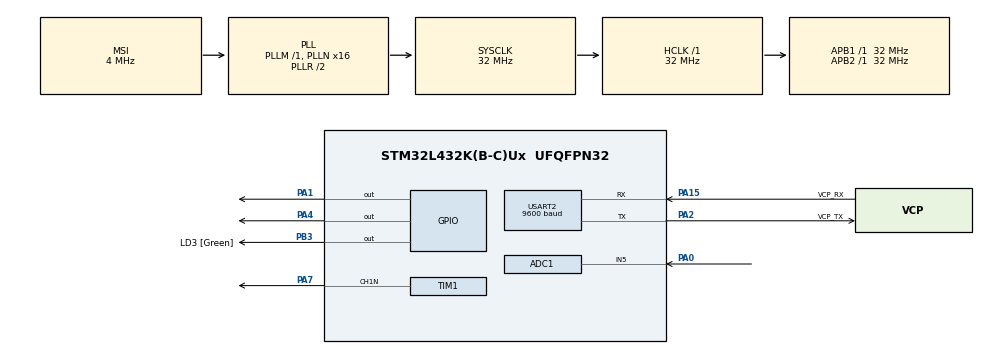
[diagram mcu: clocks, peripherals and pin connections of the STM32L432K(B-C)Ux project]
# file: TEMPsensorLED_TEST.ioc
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ADC1.Channel-0\#ChannelRegularConversion=ADC_CHANNEL_5
ADC1.NbrOfConversionFlag=1
ADC1.OffsetNumber-0\#ChannelRegularConversion=ADC_OFFSET_NONE
ADC1.Rank-0\#ChannelRegularConversion=1
ADC1.SamplingTime-0\#ChannelRegularConversion=ADC_SAMPLETIME_2CYCLES_5
ADC1.master=1
Mcu.Family=STM32L4
Mcu.Name=STM32L432K(B-C)Ux
Mcu.Package=UFQFPN32
NVIC.PriorityGroup=NVIC_PRIORITYGROUP_4
PA0.Signal=ADCx_IN5
PA1.Signal=GPIO_Output
PA13\ (JTMS-SWDIO).GPIO_Label=SWDIO
PA13\ (JTMS-SWDIO).Signal=SYS_JTMS-SWDIO
PA14\ (JTCK-SWCLK).GPIO_Label=SWCLK
PA14\ (JTCK-SWCLK).Signal=SYS_JTCK-SWCLK
PA15\ (JTDI).GPIO_Label=VCP_RX
PA15\ (JTDI).Mode=Asynchronous
PA15\ (JTDI).Signal=USART2_RX
PA2.GPIO_Label=VCP_TX
PA2.Mode=Asynchronous
PA2.Signal=USART2_TX
PA4.Signal=GPIO_Output
PA7.Mode=PWM Generation1 CH1N
PA7.Signal=TIM1_CH1N
PB3\ (JTDO-TRACESWO).GPIO_Label=LD3 [Green]
PB3\ (JTDO-TRACESWO).Signal=GPIO_Output
PC14-OSC32_IN\ (PC14).Signal=RCC_OSC32_IN
PC15-OSC32_OUT\ (PC15).Signal=RCC_OSC32_OUT
ProjectManager.HeapSize=0x200
ProjectManager.StackSize=0x400
ProjectManager.TargetToolchain=TrueSTUDIO
RCC.ADCFreq_Value=32000000
RCC.AHBFreq_Value=32000000
RCC.APB1Freq_Value=32000000
RCC.APB1TimFreq_Value=32000000
RCC.APB2Freq_Value=32000000
RCC.APB2TimFreq_Value=32000000
RCC.CortexFreq_Value=32000000
RCC.HCLKFreq_Value=32000000
RCC.HSE_VALUE=8000000
RCC.HSI16_VALUE=16000000
RCC.HSI48_VALUE=48000000
RCC.HSI_VALUE=16000000
RCC.LSE_VALUE=32768
RCC.MSI_VALUE=4000000
RCC.PLLMUL=RCC_PLLMUL_4
RCC.PLLN=16
RCC.PLLSAI1N=16
RCC.SYSCLKFreq_VALUE=32000000
RCC.SYSCLKSource=RCC_SYSCLKSOURCE_PLLCLK
RCC.USBFreq_Value=32000000
RCC.VCOOutputFreq_Value=64000000
SH.ADCx_IN5.0=ADC1_IN5,IN5-Single-Ended
TIM1.Channel-PWM\ Generation1\ CH1N=TIM_CHANNEL_1
USART2.BaudRate=9600
USART2.VirtualMode-Asynchronous=VM_ASYNC
USART2.WordLength=WORDLENGTH_8B
board=NUCLEO-L432KC

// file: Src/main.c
/**
 ******************************************************************************
 *  File Name     : main.c
 *  PROJECT       : Temperature Sensor -Assignment #3*
 *  PROGRAMMER    : DIVESH DUTT*
 *  FIRST VERSION : 2017-07-05*
 *  DESCRIPTION   :*The functions in this file are used to displays the
 *  temperature of surrounding and illuminate RGB led for the specified colour
 *  -15 C  to 5.0 C  blue
 *   5.1 C to 15 C   yellow
 *   15.1 C to 25 C  orange
 *   Above 25.1 C    red

 ******************************************************************************
 ** This notice applies to any and all portions of this file
 * that are not between comment pairs USER CODE BEGIN and
 * USER CODE END. Other portions of this file, whether
 * inserted by the user or by software development tools
 * are owned by their respective copyright owners.
 *
 * COPYRIGHT(c) 2017 STMicroelectronics
 *
 * Redistribution and use in source and binary forms, with or without modification,
 * are permitted provided that the following conditions are met:
 *   1. Redistributions of source code must retain the above copyright notice,
 *      this list of conditions and the following disclaimer.
 *   2. Redistributions in binary form must reproduce the above copyright notice,
 *      this list of conditions and the following disclaimer in the documentation
 *      and/or other materials provided with the distribution.
 *   3. Neither the name of STMicroelectronics nor the names of its contributors
 *      may be used to endorse or promote products derived from this software
 *      without specific prior written permission.
 *
 * THIS SOFTWARE IS PROVIDED BY THE COPYRIGHT HOLDERS AND CONTRIBUTORS "AS IS"
 * AND ANY EXPRESS OR IMPLIED WARRANTIES, INCLUDING, BUT NOT LIMITED TO, THE
 * IMPLIED WARRANTIES OF MERCHANTABILITY AND FITNESS FOR A PARTICULAR PURPOSE ARE
 * DISCLAIMED. IN NO EVENT SHALL THE COPYRIGHT HOLDER OR CONTRIBUTORS BE LIABLE
 * FOR ANY DIRECT, INDIRECT, INCIDENTAL, SPECIAL, EXEMPLARY, OR CONSEQUENTIAL
 * DAMAGES (INCLUDING, BUT NOT LIMITED TO, PROCUREMENT OF SUBSTITUTE GOODS OR
 * SERVICES; LOSS OF USE, DATA, OR PROFITS; OR BUSINESS INTERRUPTION) HOWEVER
 * CAUSED AND ON ANY THEORY OF LIABILITY, WHETHER IN CONTRACT, STRICT LIABILITY,
 * OR TORT (INCLUDING NEGLIGENCE OR OTHERWISE) ARISING IN ANY WAY OUT OF THE USE
 * OF THIS SOFTWARE, EVEN IF ADVISED OF THE POSSIBILITY OF SUCH DAMAGE.
 *
 ******************************************************************************
 */
#include "main.h"
#include "stm32l4xx_hal.h"

ADC_HandleTypeDef hadc1;

TIM_HandleTypeDef htim1;

UART_HandleTypeDef huart2;

/* USER CODE BEGIN PV */
/* Private variables ---------------------------------------------------------*/
float measuredTemprature = 0; //Variable used to measure temperature
/* USER CODE END PV */

void SystemClock_Config(void);
static void MX_GPIO_Init(void);
static void MX_ADC1_Init(void);
static void MX_TIM1_Init(void);
static void MX_USART2_UART_Init(void);

void HAL_TIM_MspPostInit(TIM_HandleTypeDef *htim);

/* USER CODE BEGIN PFP */
/* Private function prototypes -----------------------------------------------*/
void illuminateBlue(void);    //function used to illuminate blue colour on RGB
void illuminateOrange(void);  //function used to illuminate Orange colour on RGB
void illuminateYellow(void);  //function used to illuminate yellow colour on RGB
void displayTemp();           //function used to display temperature of room
/* USER CODE END PFP */

/* USER CODE BEGIN 0 */

/* FUNCTION     :setPWMandTurnON
 * DESCRIPTION  :This function configure timer and turn it ON.
 * PARAMETERS   :Timer handler,pwmPeriod,percentON
 * RETURNS      :None
 *******NOTE:There is a modification in this function with one more parameter
 percentON this is used to adjust the pulse of the green colour on RGB
 */
void setPWMandTurnON(TIM_HandleTypeDef* htim1, int32_t pwmPeriod,
		float percentON) {
	TIM_MasterConfigTypeDef sMasterConfig;
	TIM_OC_InitTypeDef sConfigOC;
	TIM_BreakDeadTimeConfigTypeDef sBreakDeadTimeConfig;
	htim1->Instance = TIM1;
	htim1->Init.Prescaler = 0;
	htim1->Init.CounterMode = TIM_COUNTERMODE_UP;
	htim1->Init.Period = pwmPeriod;
	htim1->Init.ClockDivision = TIM_CLOCKDIVISION_DIV1;
	htim1->Init.RepetitionCounter = 0;
	if (HAL_TIM_PWM_Init(&*htim1) != HAL_OK) {

	}
	sMasterConfig.MasterOutputTrigger = TIM_TRGO_RESET;
	sMasterConfig.MasterOutputTrigger2 = TIM_TRGO2_RESET;
	sMasterConfig.MasterSlaveMode = TIM_MASTERSLAVEMODE_DISABLE;
	if (HAL_TIMEx_MasterConfigSynchronization(&*htim1, &sMasterConfig)
			!= HAL_OK) {

	}
	/* adding this as ST Tech Support said PWM should be stopped before
	 * calling HAL_TIM_PWM_ConfigChannel and I've been getting flakey start-up
	 * i.e.: sometime PWM starts up, other times the line remains stuck high.
	 **************************************/
	HAL_TIM_PWM_Stop(&*htim1, TIM_CHANNEL_1);
	/*************************************/
	sConfigOC.OCMode = TIM_OCMODE_PWM1;
	sConfigOC.Pulse = pwmPeriod * percentON;
	sConfigOC.OCPolarity = TIM_OCPOLARITY_HIGH;
	sConfigOC.OCNPolarity = TIM_OCNPOLARITY_HIGH;
	sConfigOC.OCFastMode = TIM_OCFAST_DISABLE;
	sConfigOC.OCIdleState = TIM_OCIDLESTATE_RESET;
	sConfigOC.OCNIdleState = TIM_OCNIDLESTATE_RESET;
	if (HAL_TIM_PWM_ConfigChannel(&*htim1, &sConfigOC, TIM_CHANNEL_1)
			!= HAL_OK) {

	}
	sBreakDeadTimeConfig.OffStateRunMode = TIM_OSSR_DISABLE;
	sBreakDeadTimeConfig.OffStateIDLEMode = TIM_OSSI_DISABLE;
	sBreakDeadTimeConfig.LockLevel = TIM_LOCKLEVEL_OFF;
	sBreakDeadTimeConfig.DeadTime = 0;
	sBreakDeadTimeConfig.BreakState = TIM_BREAK_DISABLE;
	sBreakDeadTimeConfig.BreakPolarity = TIM_BREAKPOLARITY_HIGH;
	sBreakDeadTimeConfig.BreakFilter = 0;
	sBreakDeadTimeConfig.Break2State = TIM_BREAK2_DISABLE;
	sBreakDeadTimeConfig.Break2Polarity = TIM_BREAK2POLARITY_HIGH;
	sBreakDeadTimeConfig.Break2Filter = 0;
	sBreakDeadTimeConfig.AutomaticOutput = TIM_AUTOMATICOUTPUT_DISABLE;
	if (HAL_TIMEx_ConfigBreakDeadTime(&*htim1, &sBreakDeadTimeConfig)
			!= HAL_OK) {

	}
	HAL_TIMEx_PWMN_Start(&*htim1, TIM_CHANNEL_1);
}
/* USER CODE END 0 */

int main(void) {

	/* MCU Configuration----------------------------------------------------------*/

	/* Reset of all peripherals, Initializes the Flash interface and the Systick. */
	HAL_Init();

	/* Configure the system clock */
	SystemClock_Config();

	/* Initialize all configured peripherals */
	MX_GPIO_Init();
	MX_ADC1_Init();
	MX_TIM1_Init();
	MX_USART2_UART_Init();

	/* USER CODE BEGIN 2 */
	HAL_ADCEx_Calibration_Start(&hadc1, ADC_SINGLE_ENDED);
	/* USER CODE END 2 */

	/* Infinite loop */
	while (1) {

		/* USER CODE BEGIN 3 */
		displayTemp();

		if (measuredTemprature < 5) {

			illuminateBlue();

		}

		if (((measuredTemprature) < 15) && ((measuredTemprature) > 5.1)) {

			illuminateOrange();
		}
		if (((measuredTemprature) < 25) && ((measuredTemprature) > 15.1)) {

			illuminateYellow();

		}
		if ((measuredTemprature) > 25.1) {

			illuminateRed();

		}

	}
}
/* USER CODE END 3 */

/* FUNCTION     :SystemClock_Config
 * DESCRIPTION  :This function used to set the clock
 * PARAMETERS   :None
 * RETURNS      :None
 */
void SystemClock_Config(void) {

	RCC_OscInitTypeDef RCC_OscInitStruct;
	RCC_ClkInitTypeDef RCC_ClkInitStruct;
	RCC_PeriphCLKInitTypeDef PeriphClkInit;

	/**Initializes the CPU, AHB and APB busses clocks
	 */
	RCC_OscInitStruct.OscillatorType = RCC_OSCILLATORTYPE_MSI;
	RCC_OscInitStruct.MSIState = RCC_MSI_ON;
	RCC_OscInitStruct.MSICalibrationValue = 0;
	RCC_OscInitStruct.MSIClockRange = RCC_MSIRANGE_6;
	RCC_OscInitStruct.PLL.PLLState = RCC_PLL_ON;
	RCC_OscInitStruct.PLL.PLLSource = RCC_PLLSOURCE_MSI;
	RCC_OscInitStruct.PLL.PLLM = 1;
	RCC_OscInitStruct.PLL.PLLN = 16;
	RCC_OscInitStruct.PLL.PLLP = RCC_PLLP_DIV7;
	RCC_OscInitStruct.PLL.PLLQ = RCC_PLLQ_DIV2;
	RCC_OscInitStruct.PLL.PLLR = RCC_PLLR_DIV2;
	if (HAL_RCC_OscConfig(&RCC_OscInitStruct) != HAL_OK) {
		_Error_Handler(__FILE__, __LINE__);
	}

	/**Initializes the CPU, AHB and APB busses clocks
	 */
	RCC_ClkInitStruct.ClockType = RCC_CLOCKTYPE_HCLK | RCC_CLOCKTYPE_SYSCLK
			| RCC_CLOCKTYPE_PCLK1 | RCC_CLOCKTYPE_PCLK2;
	RCC_ClkInitStruct.SYSCLKSource = RCC_SYSCLKSOURCE_PLLCLK;
	RCC_ClkInitStruct.AHBCLKDivider = RCC_SYSCLK_DIV1;
	RCC_ClkInitStruct.APB1CLKDivider = RCC_HCLK_DIV1;
	RCC_ClkInitStruct.APB2CLKDivider = RCC_HCLK_DIV1;

	if (HAL_RCC_ClockConfig(&RCC_ClkInitStruct, FLASH_LATENCY_1) != HAL_OK) {
		_Error_Handler(__FILE__, __LINE__);
	}

	PeriphClkInit.PeriphClockSelection = RCC_PERIPHCLK_USART2
			| RCC_PERIPHCLK_ADC;
	PeriphClkInit.Usart2ClockSelection = RCC_USART2CLKSOURCE_PCLK1;
	PeriphClkInit.AdcClockSelection = RCC_ADCCLKSOURCE_PLLSAI1;
	PeriphClkInit.PLLSAI1.PLLSAI1Source = RCC_PLLSOURCE_MSI;
	PeriphClkInit.PLLSAI1.PLLSAI1M = 1;
	PeriphClkInit.PLLSAI1.PLLSAI1N = 16;
	PeriphClkInit.PLLSAI1.PLLSAI1P = RCC_PLLP_DIV7;
	PeriphClkInit.PLLSAI1.PLLSAI1Q = RCC_PLLQ_DIV2;
	PeriphClkInit.PLLSAI1.PLLSAI1R = RCC_PLLR_DIV2;
	PeriphClkInit.PLLSAI1.PLLSAI1ClockOut = RCC_PLLSAI1_ADC1CLK;
	if (HAL_RCCEx_PeriphCLKConfig(&PeriphClkInit) != HAL_OK) {
		_Error_Handler(__FILE__, __LINE__);
	}

	/**Configure the main internal regulator output voltage
	 */
	if (HAL_PWREx_ControlVoltageScaling(PWR_REGULATOR_VOLTAGE_SCALE1)
			!= HAL_OK) {
		_Error_Handler(__FILE__, __LINE__);
	}

	/**Configure the Systick interrupt time
	 */
	HAL_SYSTICK_Config(HAL_RCC_GetHCLKFreq() / 1000);

	/**Configure the Systick
	 */
	HAL_SYSTICK_CLKSourceConfig(SYSTICK_CLKSOURCE_HCLK);

	/* SysTick_IRQn interrupt configuration */
	HAL_NVIC_SetPriority(SysTick_IRQn, 0, 0);
}

/* FUNCTION     :MX_ADC1_Init
 * DESCRIPTION  :This function used to initialize the ADC used for sensor
 * PARAMETERS   :None
 * RETURNS      :None
 */
static void MX_ADC1_Init(void) {

	ADC_ChannelConfTypeDef sConfig;

	/**Common config
	 */
	hadc1.Instance = ADC1;
	hadc1.Init.ClockPrescaler = ADC_CLOCK_ASYNC_DIV1;
	hadc1.Init.Resolution = ADC_RESOLUTION_12B;
	hadc1.Init.DataAlign = ADC_DATAALIGN_RIGHT;
	hadc1.Init.ScanConvMode = ADC_SCAN_DISABLE;
	hadc1.Init.EOCSelection = ADC_EOC_SINGLE_CONV;
	hadc1.Init.LowPowerAutoWait = DISABLE;
	hadc1.Init.ContinuousConvMode = DISABLE;
	hadc1.Init.NbrOfConversion = 1;
	hadc1.Init.DiscontinuousConvMode = DISABLE;
	hadc1.Init.NbrOfDiscConversion = 1;
	hadc1.Init.ExternalTrigConv = ADC_SOFTWARE_START;
	hadc1.Init.ExternalTrigConvEdge = ADC_EXTERNALTRIGCONVEDGE_NONE;
	hadc1.Init.DMAContinuousRequests = DISABLE;
	hadc1.Init.Overrun = ADC_OVR_DATA_PRESERVED;
	hadc1.Init.OversamplingMode = DISABLE;
	if (HAL_ADC_Init(&hadc1) != HAL_OK) {
		_Error_Handler(__FILE__, __LINE__);
	}

	/**Configure Regular Channel
	 */
	sConfig.Channel = ADC_CHANNEL_5;
	sConfig.Rank = 1;
	sConfig.SamplingTime = ADC_SAMPLETIME_2CYCLES_5;
	sConfig.SingleDiff = ADC_SINGLE_ENDED;
	sConfig.OffsetNumber = ADC_OFFSET_NONE;
	sConfig.Offset = 0;
	if (HAL_ADC_ConfigChannel(&hadc1, &sConfig) != HAL_OK) {
		_Error_Handler(__FILE__, __LINE__);
	}

}

/* FUNCTION     :MX_TIM1_Init
 * DESCRIPTION  :This function used to set the Timer1 and sets it period
 * and pulse value.
 * PARAMETERS   :None
 * RETURNS      :None
 */
static void MX_TIM1_Init(void) {

	TIM_MasterConfigTypeDef sMasterConfig;
	TIM_OC_InitTypeDef sConfigOC;
	TIM_BreakDeadTimeConfigTypeDef sBreakDeadTimeConfig;

	htim1.Instance = TIM1;
	htim1.Init.Prescaler = 0;
	htim1.Init.CounterMode = TIM_COUNTERMODE_UP;
	htim1.Init.Period = 0;
	htim1.Init.ClockDivision = TIM_CLOCKDIVISION_DIV1;
	htim1.Init.RepetitionCounter = 0;
	if (HAL_TIM_PWM_Init(&htim1) != HAL_OK) {
		_Error_Handler(__FILE__, __LINE__);
	}

	sMasterConfig.MasterOutputTrigger = TIM_TRGO_RESET;
	sMasterConfig.MasterOutputTrigger2 = TIM_TRGO2_RESET;
	sMasterConfig.MasterSlaveMode = TIM_MASTERSLAVEMODE_DISABLE;
	if (HAL_TIMEx_MasterConfigSynchronization(&htim1, &sMasterConfig)
			!= HAL_OK) {
		_Error_Handler(__FILE__, __LINE__);
	}

	sConfigOC.OCMode = TIM_OCMODE_PWM1;
	sConfigOC.Pulse = 0;
	sConfigOC.OCPolarity = TIM_OCPOLARITY_HIGH;
	sConfigOC.OCNPolarity = TIM_OCNPOLARITY_HIGH;
	sConfigOC.OCFastMode = TIM_OCFAST_DISABLE;
	sConfigOC.OCIdleState = TIM_OCIDLESTATE_RESET;
	sConfigOC.OCNIdleState = TIM_OCNIDLESTATE_RESET;
	if (HAL_TIM_PWM_ConfigChannel(&htim1, &sConfigOC, TIM_CHANNEL_1)
			!= HAL_OK) {
		_Error_Handler(__FILE__, __LINE__);
	}

	sBreakDeadTimeConfig.OffStateRunMode = TIM_OSSR_DISABLE;
	sBreakDeadTimeConfig.OffStateIDLEMode = TIM_OSSI_DISABLE;
	sBreakDeadTimeConfig.LockLevel = TIM_LOCKLEVEL_OFF;
	sBreakDeadTimeConfig.DeadTime = 0;
	sBreakDeadTimeConfig.BreakState = TIM_BREAK_DISABLE;
	sBreakDeadTimeConfig.BreakPolarity = TIM_BREAKPOLARITY_HIGH;
	sBreakDeadTimeConfig.BreakFilter = 0;
	sBreakDeadTimeConfig.Break2State = TIM_BREAK2_DISABLE;
	sBreakDeadTimeConfig.Break2Polarity = TIM_BREAK2POLARITY_HIGH;
	sBreakDeadTimeConfig.Break2Filter = 0;
	sBreakDeadTimeConfig.AutomaticOutput = TIM_AUTOMATICOUTPUT_DISABLE;
	if (HAL_TIMEx_ConfigBreakDeadTime(&htim1, &sBreakDeadTimeConfig)
			!= HAL_OK) {
		_Error_Handler(__FILE__, __LINE__);
	}

	HAL_TIM_MspPostInit(&htim1);

}

/* FUNCTION     :MX_USART2_UART_Init
 * DESCRIPTION  :This function is used to set USART2 for our Nucleo32 to communicate
 * with the Personnel computer.
 * PARAMETERS   :None
 * RETURNS      :None
 */
static void MX_USART2_UART_Init(void) {

	huart2.Instance = USART2;
	huart2.Init.BaudRate = 9600;
	huart2.Init.WordLength = UART_WORDLENGTH_8B;
	huart2.Init.StopBits = UART_STOPBITS_1;
	huart2.Init.Parity = UART_PARITY_NONE;
	huart2.Init.Mode = UART_MODE_TX_RX;
	huart2.Init.HwFlowCtl = UART_HWCONTROL_NONE;
	huart2.Init.OverSampling = UART_OVERSAMPLING_16;
	huart2.Init.OneBitSampling = UART_ONE_BIT_SAMPLE_DISABLE;
	huart2.AdvancedInit.AdvFeatureInit = UART_ADVFEATURE_NO_INIT;
	if (HAL_UART_Init(&huart2) != HAL_OK) {
		_Error_Handler(__FILE__, __LINE__);
	}

}

/* FUNCTION     : MX_GPIO_Init
 * DESCRIPTION  :This function is used to generate clock for pin and set it
 * as input or output and here it makes PA1 and PA4 as output pins
 * PA1 is connected to RED and PA4 is connected to Blue pin of RGB
 * PARAMETERS   :None
 * RETURNS      :None
 */
static void MX_GPIO_Init(void) {

	GPIO_InitTypeDef GPIO_InitStruct;

	/* GPIO Ports Clock Enable */
	__HAL_RCC_GPIOC_CLK_ENABLE()
	;
	__HAL_RCC_GPIOA_CLK_ENABLE()
	;
	__HAL_RCC_GPIOB_CLK_ENABLE()
	;

	/*Configure GPIO pin Output Level */
	HAL_GPIO_WritePin(GPIOA, GPIO_PIN_1 | GPIO_PIN_4, GPIO_PIN_RESET);

	/*Configure GPIO pin Output Level */
	HAL_GPIO_WritePin(LD3_GPIO_Port, LD3_Pin, GPIO_PIN_RESET);

	/*Configure GPIO pins : PA1 PA4 */
	GPIO_InitStruct.Pin = GPIO_PIN_1 | GPIO_PIN_4;
	GPIO_InitStruct.Mode = GPIO_MODE_OUTPUT_PP;
	GPIO_InitStruct.Pull = GPIO_NOPULL;
	GPIO_InitStruct.Speed = GPIO_SPEED_FREQ_LOW;
	HAL_GPIO_Init(GPIOA, &GPIO_InitStruct);

	/*Configure GPIO pin : LD3_Pin */
	GPIO_InitStruct.Pin = LD3_Pin;
	GPIO_InitStruct.Mode = GPIO_MODE_OUTPUT_PP;
	GPIO_InitStruct.Pull = GPIO_NOPULL;
	GPIO_InitStruct.Speed = GPIO_SPEED_FREQ_LOW;
	HAL_GPIO_Init(LD3_GPIO_Port, &GPIO_InitStruct);

}

/* USER CODE BEGIN 4 */
/* FUNCTION     :illuminateRed
 * DESCRIPTION  :This function illuminate Red colour on RGB
 * PARAMETERS   :None
 * RETURNS      :None
 */
void illuminateRed() {
	int32_t pwmPeriod = 0;
	setPWMandTurnON(&htim1, pwmPeriod, 0);
	HAL_GPIO_WritePin(GPIOA, GPIO_PIN_4, GPIO_PIN_RESET);
	HAL_GPIO_WritePin(GPIOA, GPIO_PIN_1, GPIO_PIN_SET);
}
/* FUNCTION     :illuminateOrange
 * DESCRIPTION  :This function illuminate Orange colour on RGB
 * PARAMETERS   :None
 * RETURNS      :None
 */
void illuminateOrange() {
	int32_t freq = 1000;
	int32_t pwmPeriod;
	pwmPeriod = 1000000000 / (freq * 250); //value can vary between 2 and 65535
	HAL_GPIO_WritePin(GPIOA, GPIO_PIN_4, GPIO_PIN_RESET);
	setPWMandTurnON(&htim1, pwmPeriod, 0.75); //75% green to get orange
	HAL_GPIO_WritePin(GPIOA, GPIO_PIN_1, SET);
}
/* FUNCTION     :illuminateYellow
 * DESCRIPTION  :This function illuminate Yellow colour on RGB
 * PARAMETERS   :None
 * RETURNS      :None
 */
void illuminateYellow() {
	int32_t freq = 75;
	int32_t pwmPeriod = 1000000000 / (freq * 250); //value can vary between 2 and 65535
	setPWMandTurnON(&htim1, pwmPeriod, 0.98);
	HAL_GPIO_WritePin(GPIOA, GPIO_PIN_4, GPIO_PIN_RESET);
	HAL_GPIO_WritePin(GPIOA, GPIO_PIN_1, SET);

}
/* FUNCTION     :illuminateBlue
 * DESCRIPTION  :This function illuminate Blue colour on RGB
 * PARAMETERS   :None
 * RETURNS      :None
 */
void illuminateBlue() {
	int32_t pwmPeriod = 0;
	setPWMandTurnON(&htim1, pwmPeriod, 0);
	HAL_GPIO_WritePin(GPIOA, GPIO_PIN_1, GPIO_PIN_RESET);
	HAL_GPIO_WritePin(GPIOA, GPIO_PIN_4, GPIO_PIN_SET);

}
/* FUNCTION     :displayTemp
 * DESCRIPTION  :This function display room temperature on LCD
 * PARAMETERS   :None
 * RETURNS      :None
 *
 */
void displayTemp() {
	__IO uint16_t uhADCxConvertedValue = 0;
	float SensVoltage;
	float buffer[10];
	int32_t freq;
	int32_t pwmPeriod;
	HD44780_Init();
	HAL_ADCEx_Calibration_Start(&hadc1, ADC_SINGLE_ENDED);
	if (HAL_ADC_Start(&hadc1) != HAL_OK) {
		/* Start Conversation Error */
		printf("ADC start error\r\n");
		HAL_Delay(500);

	}

	/*##-4- Wait for the end of conversion #####################################*/
	/*  For simplicity reasons, this example is just waiting till the end of the
	 conversion, but application may perform other tasks while conversion
	 operation is ongoing. */
	if (HAL_ADC_PollForConversion(&hadc1, 10) != HAL_OK) {
		/* End Of Conversion flag not set on time */
		printf("ADC Poll for conversion error\r\n");

	} else {
		/* ADC conversion completed */
		/*##-5- Get the converted value of regular channel  ########################*/

		uhADCxConvertedValue = HAL_ADC_GetValue(&hadc1);
		/*
		 * SensVoltage is the output voltage from the sensor that is converted
		 * from digital value of the temperature sensor
		 */
		SensVoltage = (uhADCxConvertedValue * 3.32) / 4095;
		/*
		 * measuredTemperature is calculated from the formula is on on page8 of the
		 * datasheet of temperature sensor MCP7000A.
		 */
		measuredTemprature = (SensVoltage - 0.5) * 100;
		printf("temp is %.1f C\r\n", measuredTemprature);
		sprintf(buffer, "temp %.2f C", measuredTemprature);
		HD44780_GotoXY(5, 0);
		HD44780_PutStr(buffer);
		HAL_Delay(500);

	}
}
/* USER CODE END 4 */

/* FUNCTION     :_Error_Handler
 * DESCRIPTION  :This function executes in case of error
 * PARAMETERS   :None
 * RETURNS      :None
 */
void _Error_Handler(char * file, int line) {
	while (1) {
	}
}

/************************ (C) COPYRIGHT STMicroelectronics *****END OF FILE****/
